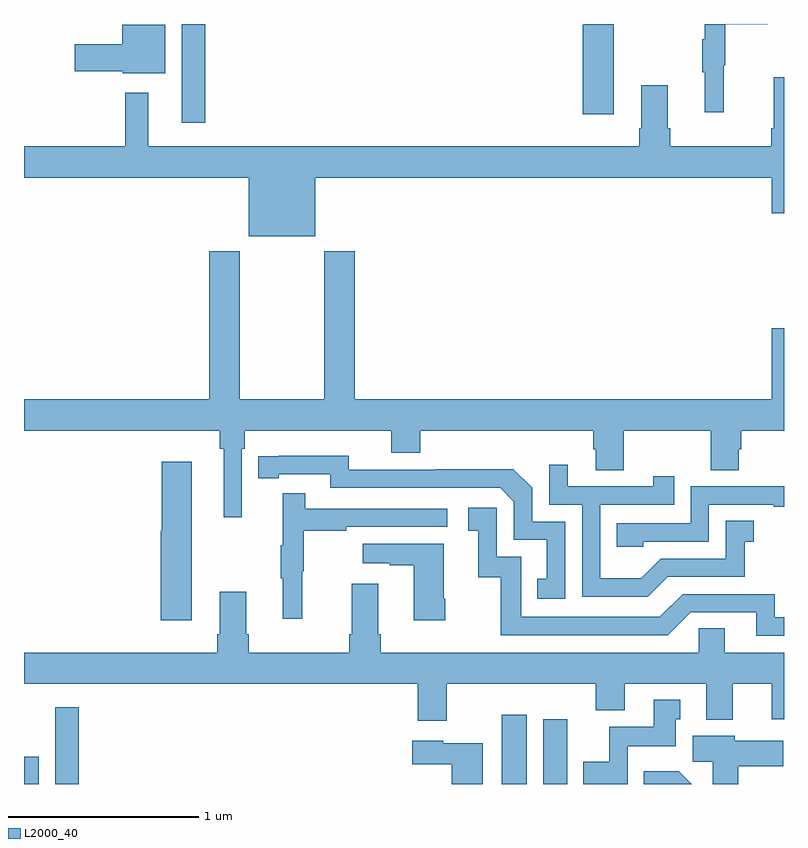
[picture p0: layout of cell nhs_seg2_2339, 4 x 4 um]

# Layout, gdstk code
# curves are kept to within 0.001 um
import gdstk
lib = gdstk.Library(unit=1e-6, precision=1e-09)
def R(c, l, rs):  # rectangles x0, y0, x1, y1
    for r in rs: c.add(gdstk.rectangle(r[:2], r[2:], *l))
def P(c, l, *ps):  # polygons
    for p in ps: c.add(gdstk.Polygon(p, *l))
L2000_40 = (2000, 40)

nhs_seg2_2339 = lib.new_cell('nhs_seg2_2339')
R(nhs_seg2_2339, L2000_40, [(233,621.8,233.077,621.943), (233.165,621.8,233.287,622.204), (235.514,621.8,235.645,622.165), (235.733,621.8,235.858,622.141), (233.831,625.281,233.953,625.8)])
P(nhs_seg2_2339, L2000_40, [(236.104,625.8),(235.946,625.8),(235.946,625.797),(235.94,625.797),(235.94,625.326),(236.104,625.326)],
  [(236.684,625.584),(236.692,625.584),(236.692,625.798),(236.915,625.798),(236.915,625.8),(236.582,625.8),(236.582,625.721),(236.571,625.721),(236.571,625.547),(236.582,625.547),(236.582,625.335),(236.684,625.335)],
  [(233.743,625.795),(233.516,625.795),(233.516,625.694),(233.268,625.694),(233.268,625.552),(233.52,625.552),(233.52,625.541),(233.743,625.541)],
  [(234.532,624.992),(236.936,624.992),(236.936,624.804),(237,624.804),(237,625.519),(236.945,625.519),(236.945,625.252),(236.933,625.252),(236.933,625.156),(236.402,625.156),(236.402,625.252),(236.389,625.252),(236.389,625.477),(236.249,625.477),(236.249,625.252),(236.237,625.252),(236.237,625.156),(233.653,625.156),(233.653,625.438),(233.532,625.438),(233.532,625.156),(233,625.156),(233,624.992),(234.182,624.992),(234.182,624.683),(234.532,624.683)],
  [(234.74,624.604),(234.58,624.604),(234.58,623.824),(234.135,623.824),(234.135,624.604),(233.975,624.604),(233.975,623.824),(233,623.824),(233,623.66),(234.031,623.66),(234.031,623.564),(234.05,623.564),(234.05,623.205),(234.147,623.205),(234.147,623.564),(234.161,623.564),(234.161,623.66),(234.932,623.66),(234.932,623.543),(235.085,623.543),(235.085,623.66),(235.997,623.66),(235.997,623.562),(236.009,623.562),(236.009,623.452),(236.157,623.452),(236.157,623.66),(236.614,623.66),(236.614,623.452),(236.761,623.452),(236.761,623.562),(236.774,623.562),(236.774,623.66),(237,623.66),(237,624.199),(236.936,624.199),(236.936,623.824),(234.74,623.824)],
  [(235.848,623.181),(235.674,623.181),(235.674,623.358),(235.576,623.456),(235.168,623.456),(235.168,623.454),(234.708,623.454),(234.708,623.527),(234.232,623.526),(234.232,623.41),(234.34,623.41),(234.34,623.43),(234.612,623.43),(234.612,623.358),(235.506,623.358),(235.578,623.286),(235.578,623.085),(235.751,623.085),(235.751,622.881),(235.702,622.881),(235.702,622.776),(235.848,622.776)],
  [(233.884,623.497),(233.726,623.497),(233.726,623.133),(233.72,623.133),(233.72,622.662),(233.884,622.662)],
  [(236.389,622.89),(236.793,622.89),(236.793,623.075),(236.842,623.075),(236.842,623.185),(236.694,623.185),(236.694,622.986),(236.352,622.986),(236.248,622.882),(236.034,622.882),(236.034,623.271),(236.423,623.271),(236.423,623.419),(236.312,623.419),(236.312,623.367),(235.861,623.367),(235.861,623.479),(235.764,623.479),(235.764,623.271),(235.938,623.271),(235.938,622.785),(236.284,622.785)],
  [(236.259,623.076),(236.604,623.076),(236.604,623.271),(236.945,623.271),(236.945,623.259),(237,623.259),(237,623.367),(236.508,623.367),(236.508,623.172),(236.119,623.172),(236.119,623.049),(236.259,623.049)],
  [(234.464,622.92),(234.472,622.92),(234.472,623.134),(234.695,623.134),(234.695,623.154),(235.228,623.154),(235.228,623.25),(234.479,623.25),(234.479,623.329),(234.362,623.329),(234.362,623.057),(234.351,623.057),(234.351,622.883),(234.362,622.883),(234.362,622.671),(234.464,622.671)],
  [(237,622.677),(236.952,622.677),(236.952,622.8),(236.466,622.8),(236.346,622.68),(235.617,622.68),(235.617,622.995),(235.488,622.995),(235.488,623.254),(235.338,623.254),(235.338,623.133),(235.391,623.133),(235.391,622.887),(235.509,622.887),(235.509,622.584),(236.388,622.584),(236.508,622.704),(236.855,622.704),(236.855,622.581),(237,622.581)],
  [(235.218,622.774),(235.21,622.774),(235.21,623.065),(234.783,623.065),(234.783,622.961),(234.926,622.961),(234.926,622.951),(235.052,622.951),(235.052,622.662),(235.218,622.662)],
  [(234.029,622.813),(234.029,622.588),(234.017,622.588),(234.017,622.492),(233,622.492),(233,622.328),(235.073,622.328),(235.073,622.134),(235.225,622.134),(235.225,622.328),(236.009,622.328),(236.009,622.187),(236.161,622.187),(236.161,622.328),(236.591,622.328),(236.591,622.139),(236.731,622.139),(236.731,622.328),(236.936,622.328),(236.936,622.14),(237,622.14),(237,622.492),(236.689,622.492),(236.689,622.619),(236.55,622.619),(236.55,622.492),(234.878,622.492),(234.878,622.588),(234.865,622.588),(234.865,622.855),(234.725,622.855),(234.725,622.588),(234.713,622.588),(234.713,622.492),(234.182,622.492),(234.182,622.588),(234.169,622.588),(234.169,622.813)],
  [(236.178,621.998),(236.431,621.998),(236.431,622.14),(236.455,622.14),(236.455,622.243),(236.315,622.243),(236.315,622.102),(236.08,622.102),(236.08,621.916),(235.943,621.916),(235.943,621.8),(236.178,621.8)],
  [(236.759,621.893),(236.995,621.893),(236.995,622.027),(236.742,622.027),(236.742,622.054),(236.519,622.054),(236.519,621.916),(236.624,621.916),(236.624,621.8),(236.759,621.8)],
  [(235.414,622.015),(235.206,622.015),(235.206,622.027),(235.044,622.027),(235.044,621.905),(235.252,621.905),(235.252,621.8),(235.414,621.8)],
  [(236.446,621.868),(236.263,621.868),(236.263,621.8),(236.514,621.8)])

lib.write_gds('nhs_seg2_2339.gds')
